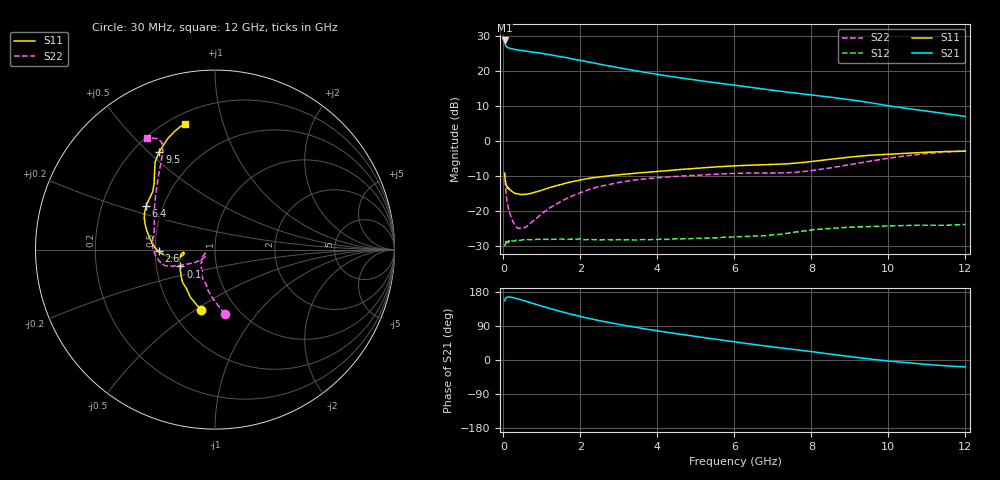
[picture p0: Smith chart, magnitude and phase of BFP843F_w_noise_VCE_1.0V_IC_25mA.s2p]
! Infineon Technologies  Discrete & RF Semiconductors
! BFP843F
! VCE =  1.0 V,  IC =  25 mA
! Common Emitter S-Parameters:  Aug 2013
# GHz  S  MA  R  50
!  f  S11  S21  S12  S22
! GHz  MAG  ANG  MAG  ANG  MAG  ANG  MAG  ANG
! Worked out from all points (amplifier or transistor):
!   103 points, 30 MHz to 12 GHz, reference 50 ohm
!   highest |S21| = 28.8 dB at 30 MHz (marker M1)
!   |S21| within 3 dB of that: start of sweep to 559.6 MHz
!   unconditionally stable (mu >= 1): 99.81 MHz to 100.3 MHz; 118.8 MHz to 137 MHz; 143 MHz to end of sweep
!   at 400 MHz: K = 1.02, MAG = 26.3 dB, |S12| = -28.4 dB
!   at 3.7 GHz: K = 1.24, MAG = 21.0 dB, |S12| = -28.2 dB
!   at 12 GHz: K = 1.22, MAG = 12.6 dB, |S12| = -23.8 dB
!   lowest NFmin = 0.98 dB at 450 MHz
!   S11 on the Smith chart (normalised r, x): 30 MHz: 0.69, -0.53; 100 MHz: 0.67, -0.13; 2.6 GHz: 0.52, -0.01; 6.4 GHz: 0.40, +0.24; 9.5 GHz: 0.30, +0.54; 12 GHz: 0.26, +0.76
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0.03  0.3448 -103.2  27.57 156.5  0.0315 19.7  0.3618 -81.4
0.04  0.298 -117.6  25.28 158.5  0.0326 18.3  0.2789 -91.6
0.05  0.2698 -125.9  23.93 161.9  0.0334 10.4  0.2319 -99.5
0.07  0.2417 -141.1  22.73 164.3  0.0368 15.4  0.1778 -112.0
0.1  0.214 -154.0  21.98 165.9  0.0344 8.2  0.1295 -125.6
0.13  0.2089 -161.1  21.62 166.5  0.0353 9.2  0.1097 -136.0
0.2  0.1959 -170.2  21.04 165.6  0.0377 6.4  0.0817 -150.0
0.9  0.1915 -168.9  18.34 145.0  0.0395 4.2  0.0824 -143.5
1.2  0.2168 -168.0  17.27 136.2  0.0392 3.7  0.1108 -145.3
1.6  0.2494 -170.3  15.77 125.0  0.0392 4.5  0.148 -149.0
2.1  0.286 -174.3  13.96 112.4  0.0389 4.4  0.1918 -154.5
2.6  0.3128 -178.3  12.33 101.7  0.039 5.5  0.2314 -157.0
3.2  0.3384 176.8  10.71 90.3  0.0389 8.0  0.268 -160.0
4.1  0.3743 168.9  8.85 75.5  0.0398 10.5  0.3026 -164.7
5  0.409 161.3  7.486 62.1  0.0408 14.2  0.3254 -171.5
6.1  0.4461 151.2  6.221 46.6  0.0431 17.4  0.347 177.7
6.4  0.4529 147.8  5.91 42.5  0.0434 18.9  0.3512 174.5
7.3  0.4725 137.7  5.085 30.8  0.0474 23.6  0.353 164.1
8.5  0.5512 127.6  4.255 15.6  0.0565 21.3  0.4152 144.2
9.5  0.628 119.6  3.57 2.8  0.06 18.4  0.5152 127.7
10.5  0.6725 113.0  2.93 -7.2  0.0623 16.2  0.6211 117.9
12  0.7184 103.3  2.254 -18.3  0.0643 16.7  0.7281 121.4
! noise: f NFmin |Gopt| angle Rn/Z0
0.45  0.98  0.13  176  0.14
0.9  0.99  0.14  178  0.15
1.5  1.02  0.16  -175  0.15
1.9  1.06  0.17  -172  0.15
2.4  1.09  0.18  -168  0.16
3.5  1.15  0.18  -165  0.21
5.5  1.25  0.23  -141  0.27
10  1.76  0.4  -102  0.36
